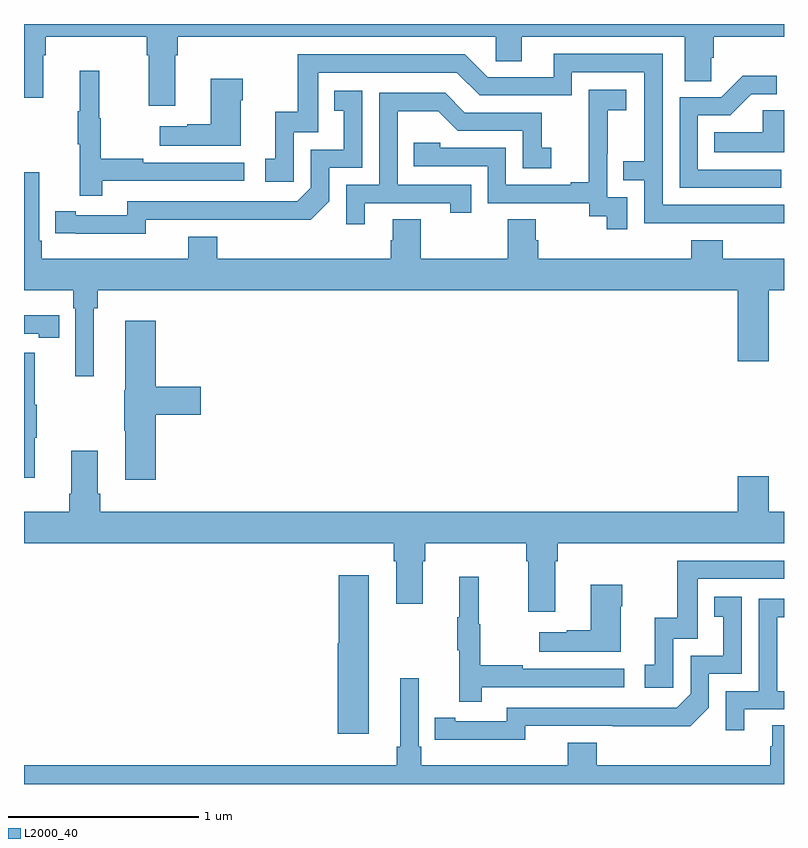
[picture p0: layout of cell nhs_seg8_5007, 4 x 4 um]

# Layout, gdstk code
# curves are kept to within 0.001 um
import gdstk
lib = gdstk.Library(unit=1e-6, precision=1e-09)
def P(c, l, *ps):  # polygons
    for p in ps: c.add(gdstk.Polygon(p, *l))
L2000_40 = (2000, 40)

nhs_seg8_5007 = lib.new_cell('nhs_seg8_5007')
P(nhs_seg8_5007, L2000_40, [(413.797,1117.736),(413.81,1117.736),(413.81,1117.832),(415.482,1117.832),(415.482,1117.705),(415.621,1117.705),(415.621,1117.832),(416.477,1117.832),(416.477,1117.6),(416.616,1117.6),(416.616,1117.723),(416.63,1117.723),(416.63,1117.832),(417,1117.832),(417,1117.9),(413,1117.9),(413,1117.512),(413.101,1117.512),(413.101,1117.736),(413.114,1117.736),(413.114,1117.832),(413.645,1117.832),(413.645,1117.736),(413.657,1117.736),(413.657,1117.47),(413.797,1117.47)],
  [(417,1116.948),(416.361,1116.948),(416.361,1117.743),(415.787,1117.743),(415.787,1117.62),(415.44,1117.62),(415.32,1117.74),(414.441,1117.74),(414.441,1117.438),(414.323,1117.438),(414.323,1117.191),(414.27,1117.191),(414.27,1117.071),(414.42,1117.071),(414.42,1117.329),(414.549,1117.329),(414.549,1117.644),(415.278,1117.644),(415.398,1117.524),(415.884,1117.524),(415.884,1117.647),(416.265,1117.647),(416.265,1117.178),(416.155,1117.178),(416.155,1117.077),(416.265,1117.077),(416.265,1116.852),(417,1116.851)],
  [(413.411,1117.074),(414.16,1117.074),(414.16,1117.17),(413.627,1117.17),(413.627,1117.19),(413.404,1117.19),(413.404,1117.404),(413.396,1117.404),(413.396,1117.654),(413.294,1117.654),(413.294,1117.441),(413.283,1117.441),(413.283,1117.267),(413.294,1117.267),(413.294,1116.996),(413.411,1116.996)],
  [(416.986,1117.134),(416.547,1117.134),(416.547,1117.419),(416.716,1117.419),(416.827,1117.53),(416.962,1117.53),(416.962,1117.628),(416.783,1117.628),(416.67,1117.515),(416.451,1117.515),(416.451,1117.038),(416.986,1117.038)],
  [(414.142,1117.499),(414.15,1117.499),(414.15,1117.612),(413.984,1117.612),(413.984,1117.373),(413.858,1117.373),(413.858,1117.363),(413.715,1117.363),(413.715,1117.259),(414.142,1117.259)],
  [(416.175,1116.987),(416.07,1116.987),(416.07,1117.217),(416.072,1117.217),(416.072,1117.445),(416.17,1117.445),(416.17,1117.555),(415.972,1117.555),(415.972,1117.349),(415.973,1117.349),(415.973,1117.066),(415.877,1117.066),(415.877,1117.053),(415.536,1117.053),(415.536,1117.248),(415.191,1117.248),(415.191,1117.275),(415.051,1117.275),(415.051,1117.152),(415.44,1117.152),(415.44,1116.957),(415.974,1116.957),(415.974,1116.889),(416.067,1116.889),(416.067,1116.819),(416.175,1116.819)],
  [(413.64,1116.87),(414.508,1116.869),(414.606,1116.966),(414.606,1117.143),(414.78,1117.143),(414.78,1117.549),(414.634,1117.549),(414.634,1117.443),(414.683,1117.443),(414.683,1117.239),(414.51,1117.239),(414.51,1117.038),(414.438,1116.966),(413.544,1116.966),(413.544,1116.894),(413.272,1116.894),(413.272,1116.914),(413.164,1116.914),(413.164,1116.798),(413.64,1116.797)],
  [(414.793,1116.957),(415.244,1116.957),(415.244,1116.906),(415.355,1116.906),(415.355,1117.053),(414.966,1117.053),(414.966,1117.442),(415.18,1117.442),(415.284,1117.338),(415.626,1117.338),(415.626,1117.14),(415.774,1117.14),(415.774,1117.249),(415.725,1117.249),(415.725,1117.434),(415.321,1117.434),(415.216,1117.539),(414.87,1117.539),(414.87,1117.053),(414.696,1117.053),(414.696,1116.846),(414.793,1116.846)],
  [(417,1117.445),(416.889,1117.445),(416.889,1117.33),(416.632,1117.33),(416.632,1117.226),(417,1117.226)],
  [(413.079,1116.76),(413.079,1117.12),(413,1117.12),(413,1116.5),(413.258,1116.5),(413.258,1116.404),(413.271,1116.404),(413.271,1116.045),(413.368,1116.045),(413.368,1116.404),(413.387,1116.404),(413.387,1116.5),(416.756,1116.5),(416.756,1116.126),(416.92,1116.126),(416.92,1116.5),(417,1116.5),(417,1116.664),(416.678,1116.664),(416.678,1116.763),(416.513,1116.763),(416.513,1116.664),(415.706,1116.664),(415.706,1116.762),(415.693,1116.762),(415.693,1116.872),(415.546,1116.872),(415.546,1116.664),(415.089,1116.664),(415.089,1116.872),(414.941,1116.872),(414.941,1116.762),(414.929,1116.762),(414.929,1116.664),(414.017,1116.664),(414.017,1116.781),(413.864,1116.781),(413.864,1116.664),(413.093,1116.664),(413.093,1116.76)],
  [(413.186,1116.366),(413.078,1116.366),(413.078,1116.367),(413,1116.367),(413,1116.27),(413.078,1116.27),(413.078,1116.25),(413.186,1116.25)],
  [(413.693,1115.843),(413.929,1115.843),(413.929,1115.99),(413.693,1115.99),(413.693,1116.337),(413.534,1116.337),(413.534,1115.973),(413.527,1115.973),(413.527,1115.759),(413.534,1115.759),(413.534,1115.502),(413.693,1115.502)],
  [(413.057,1115.723),(413.068,1115.723),(413.068,1115.897),(413.057,1115.897),(413.057,1116.169),(413,1116.169),(413,1115.511),(413.057,1115.511)],
  [(415.795,1115.072),(415.808,1115.072),(415.808,1115.168),(417,1115.168),(417,1115.332),(416.92,1115.332),(416.92,1115.521),(416.756,1115.521),(416.756,1115.332),(413.402,1115.332),(413.402,1115.428),(413.389,1115.428),(413.389,1115.653),(413.249,1115.653),(413.249,1115.428),(413.237,1115.428),(413.237,1115.332),(413,1115.332),(413,1115.168),(414.947,1115.168),(414.947,1115.072),(414.959,1115.072),(414.959,1114.848),(415.099,1114.848),(415.099,1115.072),(415.112,1115.072),(415.112,1115.168),(415.643,1115.168),(415.643,1115.072),(415.655,1115.072),(415.655,1114.806),(415.795,1114.806)],
  [(416.418,1114.665),(416.547,1114.665),(416.547,1114.98),(417,1114.98),(417,1115.076),(416.439,1115.076),(416.439,1114.774),(416.321,1114.774),(416.321,1114.527),(416.268,1114.527),(416.268,1114.407),(416.418,1114.407)],
  [(414.814,1114.999),(414.656,1114.999),(414.656,1114.641),(414.65,1114.641),(414.65,1114.164),(414.814,1114.164)],
  [(415.409,1114.41),(416.158,1114.41),(416.158,1114.506),(415.625,1114.506),(415.625,1114.526),(415.402,1114.526),(415.402,1114.74),(415.394,1114.74),(415.394,1114.99),(415.292,1114.99),(415.292,1114.777),(415.281,1114.777),(415.281,1114.603),(415.292,1114.603),(415.292,1114.332),(415.409,1114.332)],
  [(416.14,1114.835),(416.148,1114.835),(416.148,1114.948),(415.982,1114.948),(415.982,1114.709),(415.856,1114.709),(415.856,1114.699),(415.713,1114.699),(415.713,1114.595),(416.14,1114.595)],
  [(415.638,1114.206),(416.506,1114.205),(416.604,1114.302),(416.604,1114.479),(416.778,1114.479),(416.778,1114.885),(416.632,1114.885),(416.632,1114.779),(416.681,1114.779),(416.681,1114.575),(416.508,1114.575),(416.508,1114.374),(416.436,1114.302),(415.542,1114.302),(415.542,1114.23),(415.27,1114.23),(415.27,1114.25),(415.162,1114.25),(415.162,1114.134),(415.638,1114.133)],
  [(416.791,1114.293),(417,1114.293),(417,1114.389),(416.964,1114.389),(416.964,1114.778),(417,1114.778),(417,1114.875),(416.868,1114.875),(416.868,1114.389),(416.694,1114.389),(416.694,1114.182),(416.791,1114.182)],
  [(417,1114.208),(416.939,1114.208),(416.939,1114.098),(416.927,1114.098),(416.927,1114),(416.015,1114),(416.015,1114.117),(415.862,1114.117),(415.862,1114),(415.091,1114),(415.091,1114.096),(415.077,1114.096),(415.077,1114.456),(414.98,1114.456),(414.98,1114.096),(414.961,1114.096),(414.961,1114),(413,1114),(413,1113.9),(417,1113.9)])

lib.write_gds('nhs_seg8_5007.gds')
